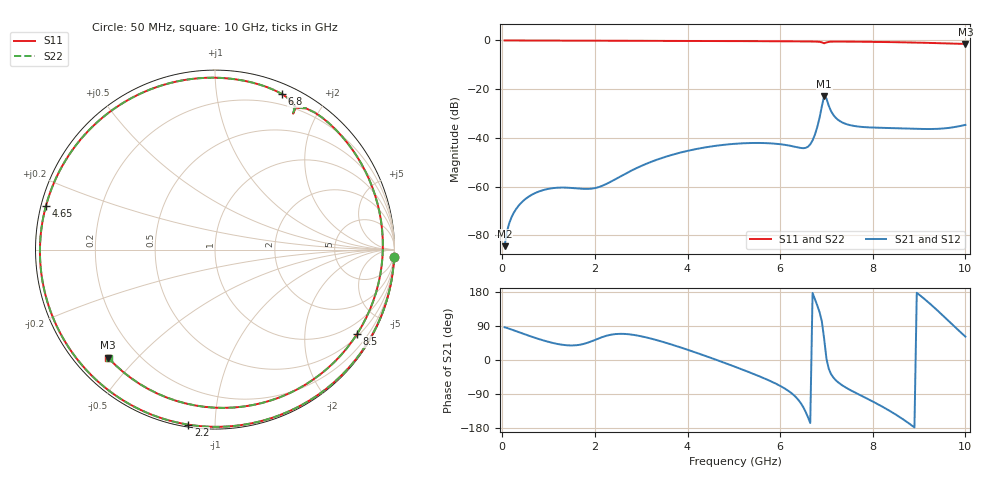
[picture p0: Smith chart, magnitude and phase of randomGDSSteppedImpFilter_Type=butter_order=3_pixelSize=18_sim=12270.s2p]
! freq	dB(S11)	phase(S11)	dB(S12)	phase(S12)
!  dB(S21)	phase(S21)	dB(S22)	phase(S22)
!S-par simulation data
#  GHz  S  DB  R 50
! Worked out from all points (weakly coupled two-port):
!   200 points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, 50 MHz to 10 GHz, reference 50 ohm
!   highest |S21| = -22.78 dB at 6.95 GHz (marker M1); lowest = -84.4 dB at 50 MHz (marker M2)
!   lowest |S11| = -1.4 dB at 10 GHz (marker M3), VSWR 12.04, Z = 4.87 - j20.7 ohm
!   |S11| at or under -10 dB: nowhere
!   |S22| runs from -1.4 to 0.0 dB; largest |S21 - S12| = 0
!   S11 on the Smith chart (normalised r, x): 50 MHz: 1, -47; 2.2 GHz: 0.01, -0.86; 4.65 GHz: 0.01, +0.13; 6.8 GHz: 0.10, +1.51; 8.5 GHz: 0.58, -3.56; 10 GHz: 0.10, -0.41
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0.05  -0.01 -2.4  -84.41 86.3  -84.41 86.3  -0.01 -2.4
0.3  -0.02 -14.2  -69.12 76.0  -69.12 76.0  -0.02 -14.2
0.6  -0.03 -28.3  -63.74 63.0  -63.74 63.0  -0.03 -28.3
1.1  -0.06 -51.3  -60.58 44.7  -60.58 44.7  -0.06 -51.3
1.75  -0.10 -79.8  -60.90 42.2  -60.90 42.2  -0.10 -79.8
2.2  -0.12 -98.6  -59.30 62.2  -59.30 62.2  -0.12 -98.6
3.4  -0.17 -146.1  -48.53 50.2  -48.53 50.2  -0.17 -146.0
4.05  -0.20 -171.1  -45.10 25.0  -45.10 25.0  -0.20 -171.0
4.65  -0.24 165.4  -43.12 -0.8  -43.12 -0.8  -0.24 165.5
5.05  -0.27 149.2  -42.37 -19.0  -42.37 -19.0  -0.27 149.3
5.95  -0.34 109.8  -42.46 -65.1  -42.46 -65.1  -0.33 109.9
6.5  -0.39 83.0  -44.21 -124.6  -44.21 -124.6  -0.39 83.1
6.7  -0.44 72.5  -41.02 177.0  -41.02 177.0  -0.44 72.6
6.8  -0.50 66.8  -35.64 144.4  -35.64 144.4  -0.50 66.9
6.95  -1.17 60.1  -22.78 55.9  -22.78 55.9  -1.17 60.2
7.15  -0.47 50.7  -30.61 -46.4  -30.61 -46.4  -0.47 50.8
7.35  -0.47 38.9  -33.72 -67.6  -33.72 -67.6  -0.47 39.1
7.85  -0.55 9.5  -35.60 -100.2  -35.60 -100.2  -0.55 9.7
8.35  -0.67 -21.2  -35.93 -133.1  -35.93 -133.1  -0.67 -20.9
8.5  -0.72 -30.6  -36.00 -144.2  -36.00 -144.2  -0.72 -30.4
9.3  -1.05 -83.5  -36.33 141.5  -36.33 141.5  -1.05 -83.2
10  -1.45 -134.6  -34.65 61.8  -34.65 61.8  -1.45 -134.3
